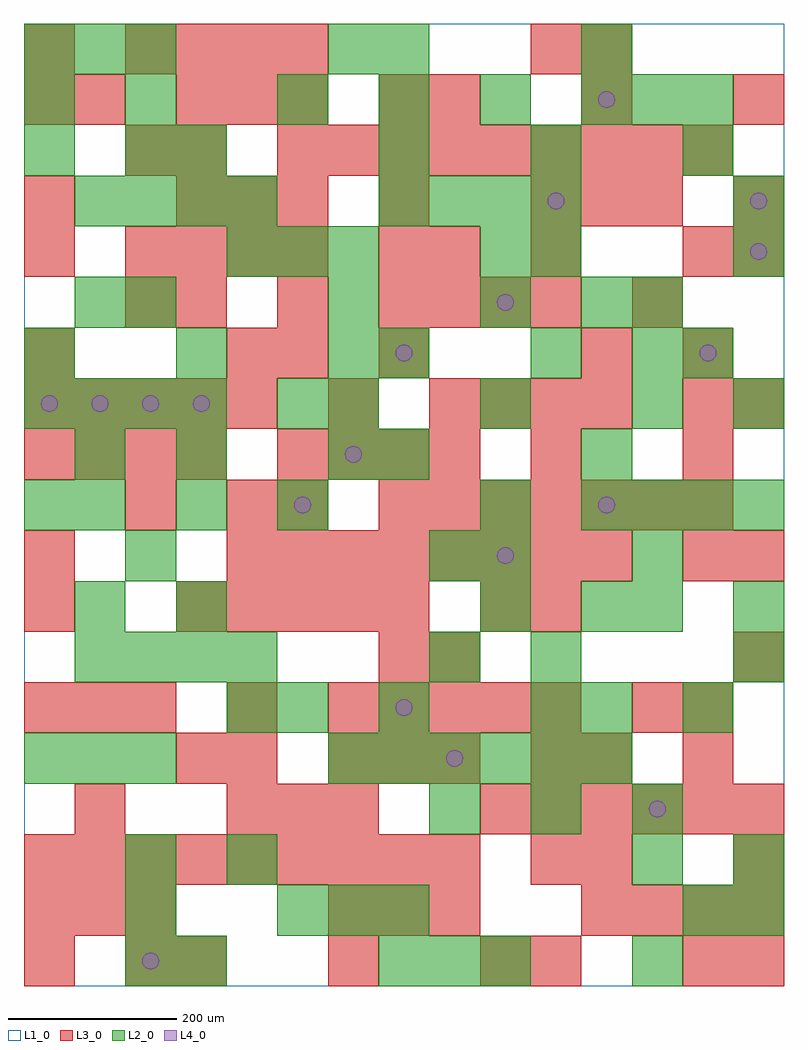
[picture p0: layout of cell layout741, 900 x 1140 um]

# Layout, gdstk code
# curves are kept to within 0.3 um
import gdstk
lib = gdstk.Library(unit=1e-6, precision=1e-09)
def R(c, l, rs):  # rectangles x0, y0, x1, y1
    for r in rs: c.add(gdstk.rectangle(r[:2], r[2:], *l))
def A(c, l, x, y, w, h, nx, ny, dx, dy):  # array of equal rectangles
    R(c, l, [(x+i*dx, y+j*dy, x+i*dx+w, y+j*dy+h) for i in range(nx) for j in range(ny)])
def P(c, l, *ps):  # polygons
    for p in ps: c.add(gdstk.Polygon(p, *l))
L1_0 = (1, 0)
L2_0 = (2, 0)
L3_0 = (3, 0)
L4_0 = (4, 0)

layout741 = lib.new_cell('layout741')
R(layout741, L1_0, [(0,0,900,1140)])
A(layout741, L2_0, 120, 0, 60, 60, 1, 3, 0, 60)
A(layout741, L2_0, 420, 0, 60, 60, 3, 1, 60, 0)
A(layout741, L2_0, 300, 60, 60, 60, 3, 1, 60, 0)
A(layout741, L2_0, 480, 180, 60, 60, 3, 1, 120, 0)
A(layout741, L2_0, 0, 240, 60, 60, 3, 2, 60, 840)
A(layout741, L2_0, 360, 240, 60, 60, 6, 1, 60, 0)
A(layout741, L2_0, 60, 360, 60, 60, 4, 2, 60, 540)
A(layout741, L2_0, 60, 420, 60, 60, 1, 3, 0, 180)
A(layout741, L2_0, 540, 420, 60, 60, 1, 3, 0, 60)
A(layout741, L2_0, 660, 420, 60, 60, 1, 3, 0, 180)
A(layout741, L2_0, 60, 540, 60, 60, 3, 1, 120, 0)
A(layout741, L2_0, 660, 540, 60, 60, 4, 1, 60, 0)
A(layout741, L2_0, 0, 660, 60, 60, 4, 1, 60, 0)
A(layout741, L2_0, 360, 660, 60, 60, 3, 1, 180, 0)
A(layout741, L2_0, 0, 720, 60, 60, 3, 1, 180, 0)
A(layout741, L2_0, 240, 840, 60, 60, 3, 1, 60, 0)
A(layout741, L2_0, 420, 900, 60, 60, 4, 1, 60, 0)
A(layout741, L2_0, 420, 960, 60, 60, 3, 1, 180, 0)
A(layout741, L2_0, 300, 1020, 60, 60, 4, 1, 120, 0)
R(layout741, L2_0, [(180,0,240,60), (720,0,780,60), (780,60,840,120), (840,60,900,120), (240,120,300,180), (720,120,780,180), (840,120,900,180), (240,300,300,360), (300,300,360,360), (420,300,480,360), (600,300,660,360), (660,300,720,360), (780,300,840,360), (480,360,540,420), (600,360,660,420), (840,360,900,420), (180,420,240,480), (720,420,780,480), (840,420,900,480), (120,480,180,540), (480,480,540,540), (720,480,780,540), (0,540,60,600), (180,600,240,660), (360,600,420,660), (420,600,480,660), (300,660,360,720), (840,660,900,720), (420,720,480,780), (600,720,660,780), (720,720,780,780), (780,720,840,780), (120,780,180,840), (360,780,420,840), (540,780,600,840), (720,780,780,840), (540,840,600,900), (600,840,660,900), (840,840,900,900), (840,900,900,960), (0,960,60,1020), (120,960,180,1020), (180,960,240,1020), (0,1020,60,1080), (120,1020,180,1080), (720,1020,780,1080), (780,1020,840,1080), (360,1080,420,1140), (420,1080,480,1140), (660,1080,720,1140)])
A(layout741, L3_0, 180, 0, 60, 60, 3, 1, 180, 0)
A(layout741, L3_0, 600, 0, 60, 60, 1, 3, 0, 120)
A(layout741, L3_0, 0, 60, 60, 60, 3, 2, 60, 240)
A(layout741, L3_0, 360, 60, 60, 60, 3, 2, 60, 180)
A(layout741, L3_0, 660, 60, 60, 60, 4, 1, 60, 0)
A(layout741, L3_0, 0, 120, 60, 60, 9, 1, 60, 0)
A(layout741, L3_0, 240, 180, 60, 60, 3, 1, 60, 0)
A(layout741, L3_0, 540, 180, 60, 60, 6, 1, 60, 0)
A(layout741, L3_0, 360, 300, 60, 60, 5, 1, 60, 0)
A(layout741, L3_0, 180, 420, 60, 60, 5, 1, 60, 0)
A(layout741, L3_0, 240, 480, 60, 60, 8, 1, 60, 0)
A(layout741, L3_0, 840, 480, 60, 60, 1, 3, 0, 180)
A(layout741, L3_0, 420, 540, 60, 60, 7, 1, 60, 0)
A(layout741, L3_0, 0, 600, 60, 60, 4, 1, 60, 0)
A(layout741, L3_0, 300, 600, 60, 60, 4, 1, 60, 0)
A(layout741, L3_0, 600, 600, 60, 60, 1, 3, 0, 240)
A(layout741, L3_0, 780, 600, 60, 60, 1, 3, 0, 60)
A(layout741, L3_0, 0, 660, 60, 60, 5, 1, 60, 0)
A(layout741, L3_0, 480, 660, 60, 60, 4, 1, 60, 0)
A(layout741, L3_0, 180, 780, 60, 60, 3, 1, 120, 0)
A(layout741, L3_0, 480, 780, 60, 60, 3, 1, 60, 0)
A(layout741, L3_0, 120, 840, 60, 60, 4, 2, 60, 240)
A(layout741, L3_0, 180, 900, 60, 60, 3, 2, 60, 120)
A(layout741, L3_0, 600, 900, 60, 60, 3, 1, 60, 0)
A(layout741, L3_0, 300, 960, 60, 60, 9, 1, 60, 0)
A(layout741, L3_0, 480, 1020, 60, 60, 3, 1, 180, 0)
R(layout741, L3_0, [(0,0,60,60), (120,0,180,60), (780,0,840,60), (840,0,900,60), (660,120,720,180), (840,120,900,180), (60,180,120,240), (180,240,240,300), (240,240,300,300), (660,240,720,300), (780,240,840,300), (240,300,300,360), (720,300,780,360), (780,300,840,360), (420,360,480,420), (480,360,540,420), (840,360,900,420), (0,420,60,480), (540,420,600,480), (600,420,660,480), (0,480,60,540), (780,480,840,540), (120,540,180,600), (240,540,300,600), (300,540,360,600), (360,660,420,720), (0,720,60,780), (240,720,300,780), (300,720,360,780), (420,720,480,780), (660,720,720,780), (120,780,180,840), (720,780,780,840), (0,840,60,900), (420,840,480,900), (480,840,540,900), (780,840,840,900), (0,900,60,960), (420,900,480,960), (840,900,900,960), (120,960,180,1020), (180,960,240,1020), (0,1020,60,1080), (60,1020,120,1080), (420,1020,480,1080), (0,1080,60,1140), (660,1080,720,1140)])
P(layout741, L4_0, [(40,690),(39.239,693.827),(37.071,697.071),(33.827,699.239),(30,700),(26.173,699.239),(22.929,697.071),(20.761,693.827),(20,690),(20.761,686.173),(22.929,682.929),(26.173,680.761),(30,680),(33.827,680.761),(37.071,682.929),(39.239,686.173)],
  [(100,690),(99.239,693.827),(97.071,697.071),(93.827,699.239),(90,700),(86.173,699.239),(82.929,697.071),(80.761,693.827),(80,690),(80.761,686.173),(82.929,682.929),(86.173,680.761),(90,680),(93.827,680.761),(97.071,682.929),(99.239,686.173)],
  [(160,30),(159.239,33.827),(157.071,37.071),(153.827,39.239),(150,40),(146.173,39.239),(142.929,37.071),(140.761,33.827),(140,30),(140.761,26.173),(142.929,22.929),(146.173,20.761),(150,20),(153.827,20.761),(157.071,22.929),(159.239,26.173)],
  [(160,690),(159.239,693.827),(157.071,697.071),(153.827,699.239),(150,700),(146.173,699.239),(142.929,697.071),(140.761,693.827),(140,690),(140.761,686.173),(142.929,682.929),(146.173,680.761),(150,680),(153.827,680.761),(157.071,682.929),(159.239,686.173)],
  [(220,690),(219.239,693.827),(217.071,697.071),(213.827,699.239),(210,700),(206.173,699.239),(202.929,697.071),(200.761,693.827),(200,690),(200.761,686.173),(202.929,682.929),(206.173,680.761),(210,680),(213.827,680.761),(217.071,682.929),(219.239,686.173)],
  [(340,570),(339.239,573.827),(337.071,577.071),(333.827,579.239),(330,580),(326.173,579.239),(322.929,577.071),(320.761,573.827),(320,570),(320.761,566.173),(322.929,562.929),(326.173,560.761),(330,560),(333.827,560.761),(337.071,562.929),(339.239,566.173)],
  [(400,630),(399.239,633.827),(397.071,637.071),(393.827,639.239),(390,640),(386.173,639.239),(382.929,637.071),(380.761,633.827),(380,630),(380.761,626.173),(382.929,622.929),(386.173,620.761),(390,620),(393.827,620.761),(397.071,622.929),(399.239,626.173)],
  [(460,330),(459.239,333.827),(457.071,337.071),(453.827,339.239),(450,340),(446.173,339.239),(442.929,337.071),(440.761,333.827),(440,330),(440.761,326.173),(442.929,322.929),(446.173,320.761),(450,320),(453.827,320.761),(457.071,322.929),(459.239,326.173)],
  [(460,750),(459.239,753.827),(457.071,757.071),(453.827,759.239),(450,760),(446.173,759.239),(442.929,757.071),(440.761,753.827),(440,750),(440.761,746.173),(442.929,742.929),(446.173,740.761),(450,740),(453.827,740.761),(457.071,742.929),(459.239,746.173)],
  [(520,270),(519.239,273.827),(517.071,277.071),(513.827,279.239),(510,280),(506.173,279.239),(502.929,277.071),(500.761,273.827),(500,270),(500.761,266.173),(502.929,262.929),(506.173,260.761),(510,260),(513.827,260.761),(517.071,262.929),(519.239,266.173)],
  [(580,510),(579.239,513.827),(577.071,517.071),(573.827,519.239),(570,520),(566.173,519.239),(562.929,517.071),(560.761,513.827),(560,510),(560.761,506.173),(562.929,502.929),(566.173,500.761),(570,500),(573.827,500.761),(577.071,502.929),(579.239,506.173)],
  [(580,810),(579.239,813.827),(577.071,817.071),(573.827,819.239),(570,820),(566.173,819.239),(562.929,817.071),(560.761,813.827),(560,810),(560.761,806.173),(562.929,802.929),(566.173,800.761),(570,800),(573.827,800.761),(577.071,802.929),(579.239,806.173)],
  [(640,930),(639.239,933.827),(637.071,937.071),(633.827,939.239),(630,940),(626.173,939.239),(622.929,937.071),(620.761,933.827),(620,930),(620.761,926.173),(622.929,922.929),(626.173,920.761),(630,920),(633.827,920.761),(637.071,922.929),(639.239,926.173)],
  [(700,570),(699.239,573.827),(697.071,577.071),(693.827,579.239),(690,580),(686.173,579.239),(682.929,577.071),(680.761,573.827),(680,570),(680.761,566.173),(682.929,562.929),(686.173,560.761),(690,560),(693.827,560.761),(697.071,562.929),(699.239,566.173)],
  [(700,1050),(699.239,1053.827),(697.071,1057.071),(693.827,1059.239),(690,1060),(686.173,1059.239),(682.929,1057.071),(680.761,1053.827),(680,1050),(680.761,1046.173),(682.929,1042.929),(686.173,1040.761),(690,1040),(693.827,1040.761),(697.071,1042.929),(699.239,1046.173)],
  [(760,210),(759.239,213.827),(757.071,217.071),(753.827,219.239),(750,220),(746.173,219.239),(742.929,217.071),(740.761,213.827),(740,210),(740.761,206.173),(742.929,202.929),(746.173,200.761),(750,200),(753.827,200.761),(757.071,202.929),(759.239,206.173)],
  [(820,750),(819.239,753.827),(817.071,757.071),(813.827,759.239),(810,760),(806.173,759.239),(802.929,757.071),(800.761,753.827),(800,750),(800.761,746.173),(802.929,742.929),(806.173,740.761),(810,740),(813.827,740.761),(817.071,742.929),(819.239,746.173)],
  [(880,870),(879.239,873.827),(877.071,877.071),(873.827,879.239),(870,880),(866.173,879.239),(862.929,877.071),(860.761,873.827),(860,870),(860.761,866.173),(862.929,862.929),(866.173,860.761),(870,860),(873.827,860.761),(877.071,862.929),(879.239,866.173)],
  [(880,930),(879.239,933.827),(877.071,937.071),(873.827,939.239),(870,940),(866.173,939.239),(862.929,937.071),(860.761,933.827),(860,930),(860.761,926.173),(862.929,922.929),(866.173,920.761),(870,920),(873.827,920.761),(877.071,922.929),(879.239,926.173)])

lib.write_gds('layout741.gds')
